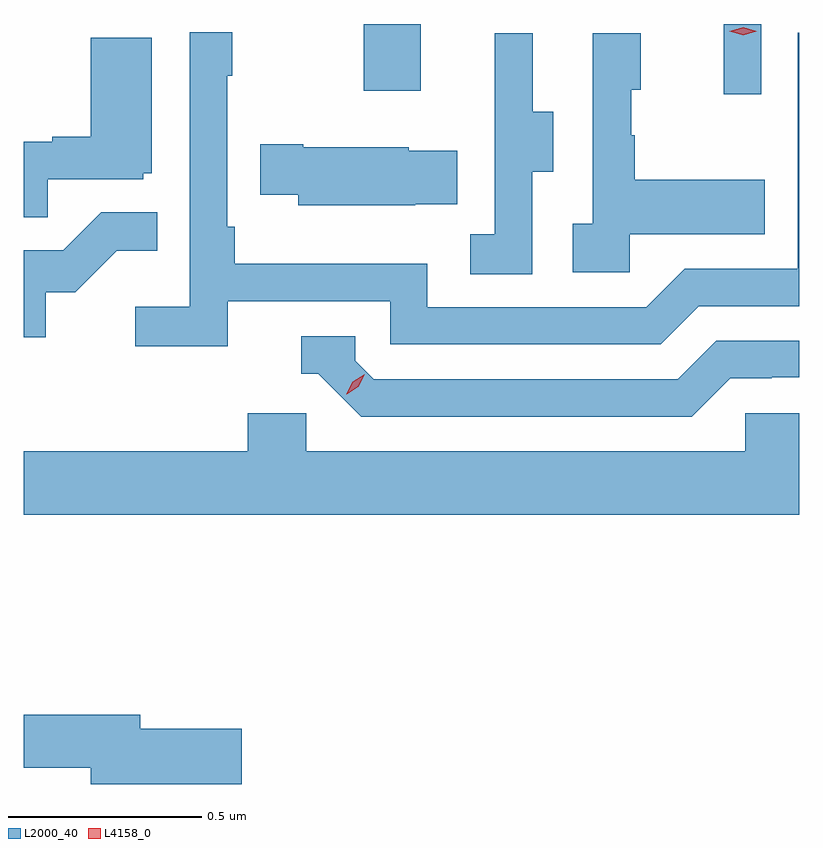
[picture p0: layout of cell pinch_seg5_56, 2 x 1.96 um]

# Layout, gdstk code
import gdstk
lib = gdstk.Library(unit=1e-6, precision=1e-09)
def R(c, l, rs):  # rectangles x0, y0, x1, y1
    for r in rs: c.add(gdstk.rectangle(r[:2], r[2:], *l))
def P(c, l, *ps):  # polygons
    for p in ps: c.add(gdstk.Polygon(p, *l))
L2000_40 = (2000, 40)
L4158_0 = (4158, 0)

pinch_seg5_56 = lib.new_cell('pinch_seg5_56')
R(pinch_seg5_56, L2000_40, [(1071.404,904.464,1071.501,904.645), (1070.476,904.473,1070.623,904.645)])
P(pinch_seg5_56, L2000_40, [(1070.126,903.93),(1070.544,903.93),(1070.544,903.819),(1071.241,903.819),(1071.34,903.918),(1071.599,903.918),(1071.599,904.623),(1071.594,904.623),(1071.594,904.014),(1071.303,904.014),(1071.204,903.915),(1070.64,903.915),(1070.64,904.027),(1070.144,904.027),(1070.144,904.123),(1070.124,904.123),(1070.124,904.511),(1070.137,904.511),(1070.137,904.624),(1070.028,904.624),(1070.028,903.916),(1069.887,903.916),(1069.887,903.814),(1070.126,903.814)],
  [(1070.91,904.264),(1070.965,904.264),(1070.965,904.419),(1070.911,904.419),(1070.911,904.621),(1070.813,904.621),(1070.813,904.407),(1070.814,904.407),(1070.814,904.103),(1070.751,904.103),(1070.751,904),(1070.91,904)],
  [(1071.162,904.103),(1071.509,904.103),(1071.509,904.243),(1071.175,904.243),(1071.175,904.358),(1071.165,904.358),(1071.165,904.476),(1071.19,904.476),(1071.19,904.621),(1071.066,904.621),(1071.066,904.13),(1071.015,904.13),(1071.015,904.005),(1071.162,904.005)],
  [(1069.661,904.245),(1069.908,904.245),(1069.908,904.26),(1069.93,904.26),(1069.93,904.609),(1069.772,904.609),(1069.772,904.354),(1069.673,904.354),(1069.673,904.341),(1069.599,904.341),(1069.599,904.147),(1069.661,904.147)],
  [(1070.609,904.181),(1070.717,904.181),(1070.717,904.318),(1070.592,904.318),(1070.592,904.327),(1070.32,904.327),(1070.32,904.335),(1070.209,904.335),(1070.209,904.205),(1070.307,904.205),(1070.307,904.178),(1070.609,904.178)],
  [(1069.656,903.954),(1069.732,903.954),(1069.839,904.061),(1069.943,904.061),(1069.943,904.16),(1069.799,904.16),(1069.701,904.062),(1069.599,904.062),(1069.599,903.837),(1069.656,903.837)],
  [(1071.421,903.732),(1071.528,903.732),(1071.528,903.735),(1071.599,903.735),(1071.599,903.828),(1071.384,903.828),(1071.285,903.729),(1070.502,903.729),(1070.454,903.777),(1070.454,903.84),(1070.315,903.84),(1070.315,903.744),(1070.358,903.744),(1070.469,903.633),(1071.322,903.633)],
  [(1071.599,903.642),(1071.459,903.642),(1071.459,903.544),(1070.328,903.544),(1070.328,903.642),(1070.177,903.642),(1070.177,903.544),(1069.599,903.544),(1069.599,903.38),(1071.599,903.38)],
  [(1070.161,902.828),(1069.9,902.828),(1069.9,902.864),(1069.599,902.864),(1069.599,902.728),(1069.772,902.728),(1069.772,902.686),(1070.161,902.686)])
P(pinch_seg5_56, L4158_0, [(1070.431,903.691),(1070.431,903.691),(1070.448,903.723),(1070.479,903.742),(1070.479,903.742),(1070.479,903.742),(1070.462,903.71),(1070.432,903.691)],
  [(1071.454,904.616),(1071.418,904.626),(1071.418,904.626),(1071.418,904.626),(1071.454,904.636),(1071.489,904.626),(1071.489,904.626),(1071.489,904.626)])

lib.write_gds('pinch_seg5_56.gds')
